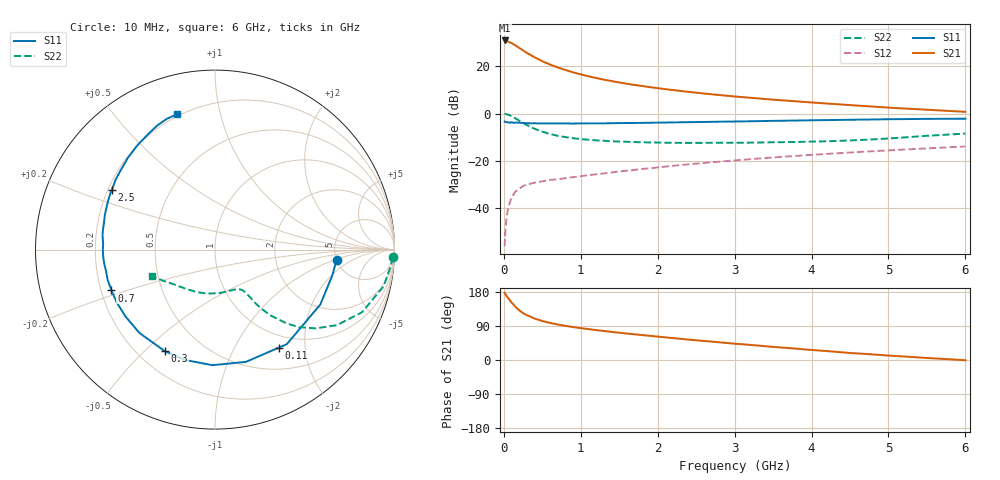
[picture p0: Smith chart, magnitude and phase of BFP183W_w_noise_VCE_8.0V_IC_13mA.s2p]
! Infineon Technologies  Discrete & RF Semiconductors
! BFP183W
! VCE =  8.0 V,  IC =  13 mA
! Common Emitter S-Parameters:  Jan 2017
# GHz  S  MA  R  50
!  f  S11  S21  S12  S22
! GHz  MAG  ANG  MAG  ANG  MAG  ANG  MAG  ANG
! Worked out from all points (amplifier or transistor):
!   77 points, 10 MHz to 6 GHz, reference 50 ohm
!   highest |S21| = 30.9 dB at 10 MHz (marker M1)
!   |S21| within 3 dB of that: start of sweep to 193.1 MHz
!   unconditionally stable (mu >= 1): 1.517 GHz to 3.803 GHz
!   at 130 MHz: K = 0.17, MSG = 31.5 dB, |S12| = -33.9 dB
!   at 2.2 GHz: K = 1.06, MAG = 14.5 dB, |S12| = -22.0 dB
!   at 6 GHz: K = 0.86, MSG = 7.3 dB, |S12| = -13.8 dB
!   lowest NFmin = 1.01 dB at 450 MHz
!   S11 on the Smith chart (normalised r, x): 10 MHz: 5.01, -1.06; 110 MHz: 0.81, -1.53; 300 MHz: 0.31, -0.58; 700 MHz: 0.24, -0.18; 2.5 GHz: 0.22, +0.26; 6 GHz: 0.19, +0.74
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0.01  0.6797 -4.8  35.03 177.3  0.0016 94.1  0.9901 -2.5
0.02  0.6692 -12.4  34.64 173.7  0.0035 85.7  0.985 -5.0
0.05  0.6618 -27.5  33.53 165.1  0.0089 78.9  0.9615 -12.3
0.1  0.6616 -52.8  30.91 151.7  0.0168 67.4  0.8901 -23.1
0.11  0.6515 -57.0  30.17 149.7  0.0179 65.3  0.8703 -24.7
0.15  0.6488 -74.6  27.63 140.5  0.0227 59.0  0.7988 -31.8
0.2  0.6441 -91.3  24.38 131.2  0.026 54.6  0.7128 -38.0
0.25  0.6371 -105.2  21.56 123.8  0.0297 48.4  0.6373 -42.7
0.3  0.631 -116.4  19.1 118.1  0.0318 45.7  0.5726 -45.9
0.4  0.6268 -132.2  15.44 109.2  0.035 42.8  0.4791 -49.9
0.5  0.6226 -143.5  12.78 102.9  0.0374 41.1  0.4167 -51.9
0.6  0.6215 -151.8  10.9 97.9  0.0401 41.4  0.3728 -53.0
0.7  0.6201 -158.5  9.442 93.8  0.0411 42.2  0.3411 -53.4
0.9  0.6188 -168.8  7.442 86.9  0.0457 44.0  0.3034 -54.4
1.1  0.6241 -176.4  6.152 81.5  0.0502 46.4  0.2818 -55.2
1.5  0.6325 171.9  4.549 72.0  0.0603 49.9  0.2579 -59.0
2.1  0.6499 157.8  3.293 59.8  0.0764 52.5  0.2442 -68.6
2.5  0.6644 150.1  2.772 52.1  0.0882 53.1  0.2419 -77.2
3.1  0.6867 139.7  2.236 41.5  0.1063 52.3  0.2436 -91.1
4.1  0.7283 125.0  1.679 25.0  0.1383 49.3  0.2592 -116.0
5.1  0.7651 113.9  1.313 10.5  0.1714 44.6  0.3069 -141.9
6  0.7833 105.6  1.094 -0.7  0.2031 39.4  0.3803 -157.1
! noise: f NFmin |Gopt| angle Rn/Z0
0.45  1.01  0.12  144  0.1
0.9  1.04  0.19  155  0.09
1.9  1.52  0.38  -172  0.08
2.4  1.75  0.44  -164  0.1
